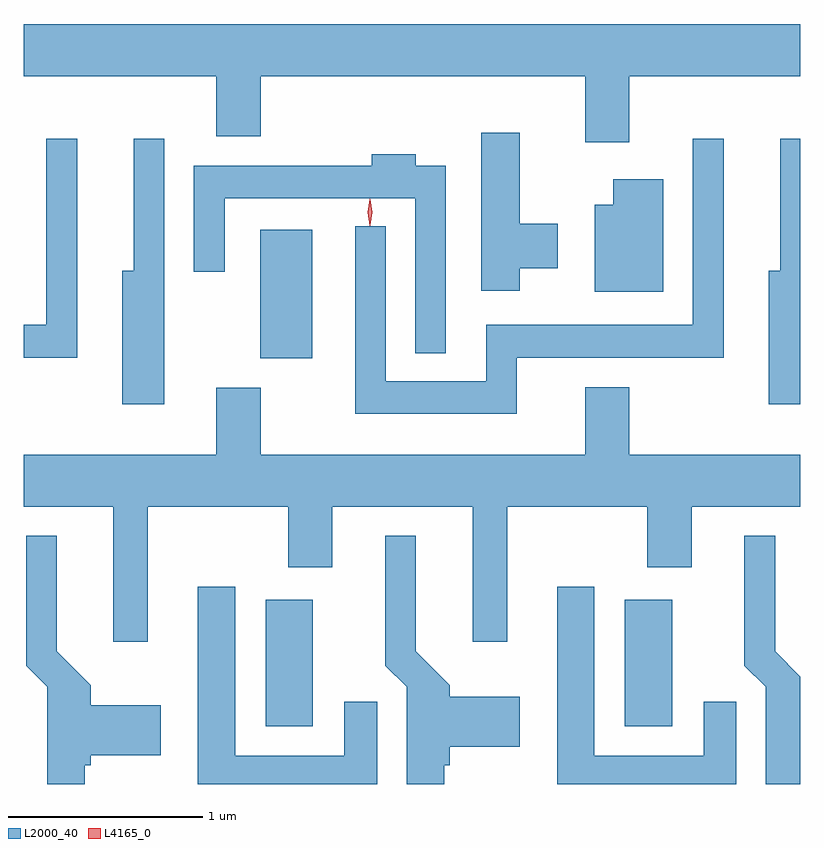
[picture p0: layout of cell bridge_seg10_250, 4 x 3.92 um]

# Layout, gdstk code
import gdstk
lib = gdstk.Library(unit=1e-6, precision=1e-09)
def R(c, l, rs):  # rectangles x0, y0, x1, y1
    for r in rs: c.add(gdstk.rectangle(r[:2], r[2:], *l))
def P(c, l, *ps):  # polygons
    for p in ps: c.add(gdstk.Polygon(p, *l))
L2000_40 = (2000, 40)
L4165_0 = (4165, 0)

bridge_seg10_250 = lib.new_cell('bridge_seg10_250')
R(bridge_seg10_250, L2000_40, [(1819.616,2099.466,1819.859,2100.119), (1821.466,2099.466,1821.709,2100.119), (1819.586,2101.361,1819.854,2102.024)])
P(bridge_seg10_250, L2000_40, [(1821.489,2102.816),(1822.369,2102.816),(1822.369,2103.084),(1818.369,2103.084),(1818.369,2102.816),(1819.361,2102.816),(1819.361,2102.506),(1819.589,2102.506),(1819.589,2102.816),(1821.261,2102.816),(1821.261,2102.476),(1821.489,2102.476)],
  [(1820.924,2101.826),(1821.119,2101.826),(1821.119,2102.054),(1820.924,2102.054),(1820.924,2102.524),(1820.726,2102.524),(1820.726,2101.711),(1820.924,2101.711)],
  [(1820.909,2101.366),(1821.974,2101.366),(1821.974,2102.493),(1821.816,2102.493),(1821.816,2101.534),(1820.751,2101.534),(1820.751,2101.244),(1820.234,2101.244),(1820.234,2102.043),(1820.076,2102.043),(1820.076,2101.076),(1820.909,2101.076)],
  [(1818.644,2102.493),(1818.486,2102.493),(1818.486,2101.534),(1818.369,2101.534),(1818.369,2101.366),(1818.644,2101.366)],
  [(1819.094,2102.493),(1818.936,2102.493),(1818.936,2101.814),(1818.876,2101.814),(1818.876,2101.126),(1819.094,2101.126)],
  [(1822.369,2102.493),(1822.266,2102.493),(1822.266,2101.814),(1822.206,2101.814),(1822.206,2101.126),(1822.369,2101.126)],
  [(1820.544,2102.354),(1820.389,2102.354),(1820.389,2102.414),(1820.161,2102.414),(1820.161,2102.354),(1819.246,2102.354),(1819.246,2101.808),(1819.404,2101.808),(1819.404,2102.186),(1820.386,2102.186),(1820.386,2101.388),(1820.544,2101.388)],
  [(1821.664,2102.284),(1821.406,2102.284),(1821.406,2102.154),(1821.311,2102.154),(1821.311,2101.706),(1821.664,2101.706)],
  [(1819.009,2100.596),(1819.731,2100.596),(1819.731,2100.286),(1819.959,2100.286),(1819.959,2100.596),(1820.681,2100.596),(1820.681,2099.901),(1820.859,2099.901),(1820.859,2100.596),(1821.581,2100.596),(1821.581,2100.286),(1821.809,2100.286),(1821.809,2100.596),(1822.369,2100.596),(1822.369,2100.864),(1821.489,2100.864),(1821.489,2101.214),(1821.261,2101.214),(1821.261,2100.864),(1819.589,2100.864),(1819.589,2101.209),(1819.361,2101.209),(1819.361,2100.864),(1818.369,2100.864),(1818.369,2100.596),(1818.831,2100.596),(1818.831,2099.901),(1819.009,2099.901)],
  [(1822.369,2099.722),(1822.239,2099.852),(1822.239,2100.448),(1822.081,2100.448),(1822.081,2099.779),(1822.191,2099.669),(1822.191,2099.169),(1822.369,2099.169)],
  [(1820.534,2099.266),(1820.564,2099.266),(1820.564,2099.361),(1820.924,2099.361),(1820.924,2099.619),(1820.564,2099.619),(1820.564,2099.677),(1820.389,2099.852),(1820.389,2100.448),(1820.231,2100.448),(1820.231,2099.779),(1820.341,2099.669),(1820.341,2099.169),(1820.534,2099.169)],
  [(1818.684,2099.266),(1818.714,2099.266),(1818.714,2099.316),(1819.074,2099.316),(1819.074,2099.574),(1818.714,2099.574),(1818.714,2099.677),(1818.539,2099.852),(1818.539,2100.448),(1818.381,2100.448),(1818.381,2099.779),(1818.491,2099.669),(1818.491,2099.169),(1818.684,2099.169)],
  [(1820.189,2099.593),(1820.021,2099.593),(1820.021,2099.314),(1819.459,2099.314),(1819.459,2100.184),(1819.266,2100.184),(1819.266,2099.169),(1820.189,2099.169)],
  [(1822.039,2099.593),(1821.871,2099.593),(1821.871,2099.314),(1821.309,2099.314),(1821.309,2100.184),(1821.116,2100.184),(1821.116,2099.169),(1822.039,2099.169)])
P(bridge_seg10_250, L4165_0, [(1820.155,2102.047),(1820.154,2102.048),(1820.145,2102.114),(1820.154,2102.18),(1820.155,2102.181),(1820.155,2102.18),(1820.165,2102.114),(1820.155,2102.048)],
  [(1820.152,2102.044),(1820.152,2102.044),(1820.142,2102.113),(1820.152,2102.182),(1820.152,2102.183),(1820.153,2102.182),(1820.162,2102.113),(1820.153,2102.044)])

lib.write_gds('bridge_seg10_250.gds')
